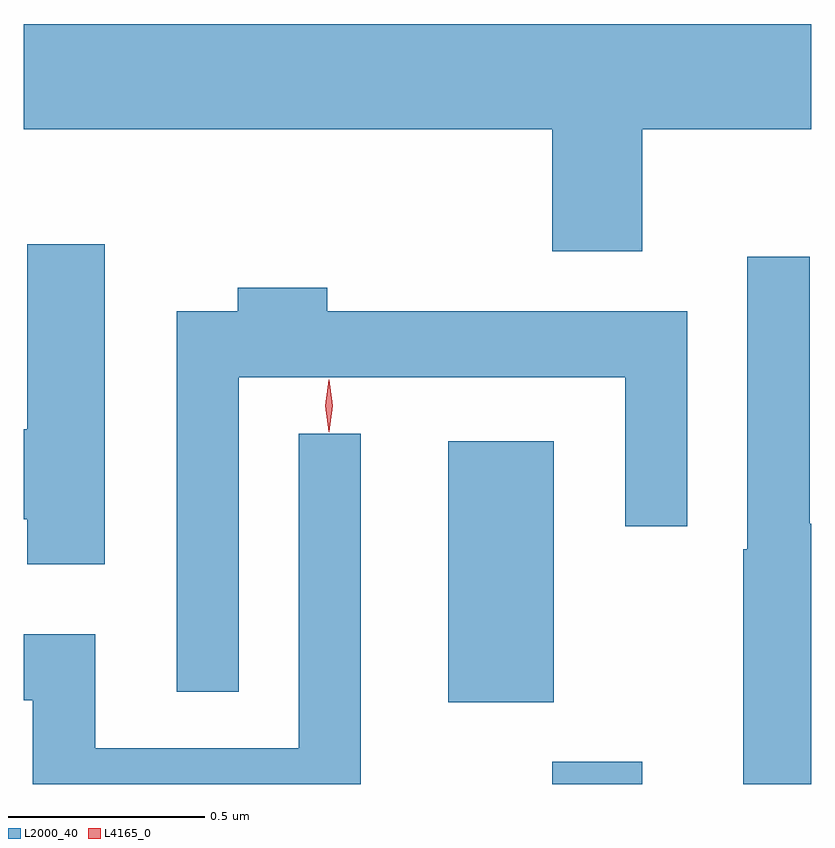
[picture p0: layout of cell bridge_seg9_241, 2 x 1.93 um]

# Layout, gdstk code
import gdstk
lib = gdstk.Library(unit=1e-6, precision=1e-09)
def R(c, l, rs):  # rectangles x0, y0, x1, y1
    for r in rs: c.add(gdstk.rectangle(r[:2], r[2:], *l))
def P(c, l, *ps):  # polygons
    for p in ps: c.add(gdstk.Polygon(p, *l))
L2000_40 = (2000, 40)
L4165_0 = (4165, 0)

bridge_seg9_241 = lib.new_cell('bridge_seg9_241')
R(bridge_seg9_241, L2000_40, [(1487.951,1972.393,1488.179,1972.449), (1487.686,1972.601,1487.954,1973.264)])
P(bridge_seg9_241, L2000_40, [(1488.179,1974.056),(1488.608,1974.056),(1488.608,1974.324),(1486.608,1974.324),(1486.608,1974.056),(1487.951,1974.056),(1487.951,1973.746),(1488.179,1973.746)],
  [(1486.814,1973.764),(1486.616,1973.764),(1486.616,1973.294),(1486.608,1973.294),(1486.608,1973.066),(1486.616,1973.066),(1486.616,1972.951),(1486.814,1972.951)],
  [(1488.608,1973.054),(1488.604,1973.054),(1488.604,1973.733),(1488.446,1973.733),(1488.446,1972.99),(1488.436,1972.99),(1488.436,1972.393),(1488.608,1972.393)],
  [(1487.154,1973.426),(1488.136,1973.426),(1488.136,1973.048),(1488.294,1973.048),(1488.294,1973.594),(1487.379,1973.594),(1487.379,1973.654),(1487.151,1973.654),(1487.151,1973.594),(1486.996,1973.594),(1486.996,1972.628),(1487.154,1972.628)],
  [(1487.464,1973.283),(1487.306,1973.283),(1487.306,1972.484),(1486.789,1972.484),(1486.789,1972.774),(1486.608,1972.774),(1486.608,1972.606),(1486.631,1972.606),(1486.631,1972.393),(1487.464,1972.393)])
P(bridge_seg9_241, L4165_0, [(1487.384,1973.287),(1487.383,1973.288),(1487.373,1973.354),(1487.382,1973.42),(1487.383,1973.42),(1487.384,1973.42),(1487.393,1973.354),(1487.384,1973.288)])

lib.write_gds('bridge_seg9_241.gds')
